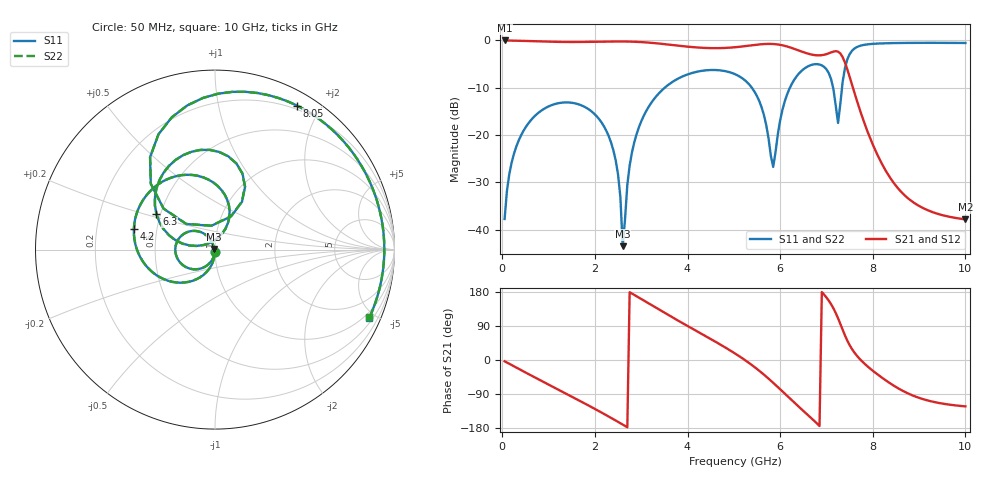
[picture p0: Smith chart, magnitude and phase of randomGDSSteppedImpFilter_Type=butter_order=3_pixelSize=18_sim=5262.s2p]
! freq	dB(S11)	phase(S11)	dB(S12)	phase(S12)
!  dB(S21)	phase(S21)	dB(S22)	phase(S22)
!S-par simulation data
#  GHz  S  DB  R 50
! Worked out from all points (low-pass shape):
!   200 points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, 50 MHz to 10 GHz, reference 50 ohm
!   highest |S21| = -0.01 dB at 50 MHz (marker M1); lowest = -37.8 dB at 10 GHz (marker M2)
!   |S21| within 3 dB of the highest: start of sweep to 6.689 GHz; 6.958 GHz to 7.316 GHz (357.3 MHz wide, 5.01 % of centre)
!   lowest |S11| = -43.5 dB at 2.6 GHz (marker M3), VSWR 1.01, Z = 49.5 + j0.408 ohm
!   |S11| at or under -10 dB: start of sweep to 3.507 GHz; 5.388 GHz to 6.211 GHz (822.8 MHz wide, 14.2 % of centre); 7.143 GHz to 7.336 GHz (192.9 MHz wide, 2.66 % of centre)
!   |S22| runs from -43.2 to -0.5 dB; largest |S21 - S12| = 0
!   S11 on the Smith chart (normalised r, x): 50 MHz: 1.00, -0.03; 4.2 GHz: 0.37, +0.11; 6.3 GHz: 0.48, +0.22; 8.05 GHz: 0.16, +1.71; 10 GHz: 0.72, -4.65
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0.05  -37.75 -92.4  -0.01 -3.4  -0.01 -3.4  -37.75 -92.4
0.2  -25.91 -103.1  -0.03 -13.3  -0.03 -13.3  -25.91 -103.1
0.55  -17.71 -126.4  -0.13 -36.1  -0.13 -36.1  -17.71 -126.4
1.75  -13.91 157.1  -0.32 -112.7  -0.32 -112.7  -13.91 157.2
2.4  -23.27 116.0  -0.22 -156.3  -0.22 -156.3  -23.26 116.3
2.55  -33.12 112.9  -0.22 -166.8  -0.22 -166.8  -33.09 113.7
2.6  -43.49 142.0  -0.22 -170.3  -0.22 -170.3  -43.20 144.0
2.85  -21.53 -102.0  -0.28 171.7  -0.28 171.7  -21.53 -102.2
3.4  -10.99 -139.4  -0.68 131.9  -0.68 131.9  -10.99 -139.5
4.2  -6.63 165.8  -1.48 76.1  -1.48 76.1  -6.63 165.7
5.05  -7.25 106.8  -1.42 15.3  -1.42 15.3  -7.25 106.7
5.55  -12.85 69.1  -0.85 -28.5  -0.85 -28.5  -12.85 68.9
5.85  -26.73 120.9  -0.76 -60.2  -0.76 -60.2  -26.88 120.9
6.3  -8.37 148.8  -1.76 -111.8  -1.76 -111.8  -8.38 148.9
6.7  -5.11 108.7  -3.03 -156.5  -3.03 -156.5  -5.11 108.8
7.1  -8.20 64.5  -2.54 147.2  -2.54 147.2  -8.19 64.6
7.25  -17.45 98.7  -2.37 110.2  -2.37 110.2  -17.39 98.8
7.3  -13.38 138.3  -2.76 95.0  -2.76 95.0  -13.35 138.2
7.6  -1.74 100.9  -10.92 20.2  -10.92 20.2  -1.74 100.9
8.05  -0.69 60.3  -23.11 -33.1  -23.11 -33.1  -0.69 60.3
8.35  -0.58 42.7  -28.65 -59.6  -28.65 -59.6  -0.58 42.7
10  -0.54 -23.8  -37.82 -122.4  -37.82 -122.4  -0.54 -23.7
